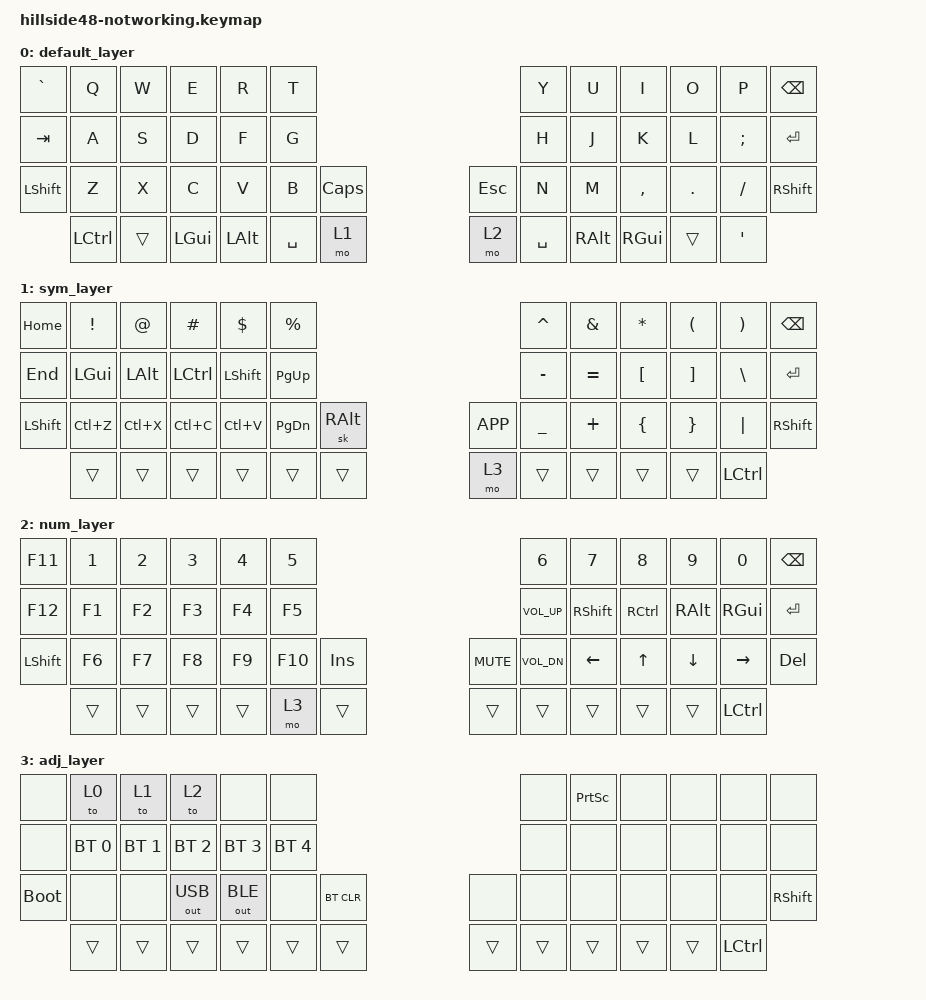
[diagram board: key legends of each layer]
/*
 * Copyright (c) 2022 The ZMK Contributors
 *
 * SPDX-License-Identifier: MIT
 */

#include <behaviors.dtsi>
#include <dt-bindings/zmk/bt.h>
#include <dt-bindings/zmk/keys.h>
#include <dt-bindings/zmk/outputs.h>

#define QWERTY_L 0
#define SYM_L    1
#define NUM_L    2
#define ADJ_L    3
#define Undo   LC(Z)
#define Cut    LC(X)
#define Copy   LC(C)
#define Paste  LC(V)

/ {
    combos {
        compatible = "zmk,combos";

        Layer3 {
            bindings = <&mo 3>;
            key-positions = <38 40>;
        };
    };

    keymap {
        compatible = "zmk,keymap";

        default_layer {
            /* QWERTY
 * -------------------------------------------------------------------------------------------------------------------------------------
 * | `     |   Q   |   W   |   E   |   R   |   T   |-----------------------------------|   Y   |   U   |   I   |   O   |   P   | BKSPC |
 * | TAB   |   A   |   S   |   D   |   F   |   G   |-----------------------------------|   H   |   J   |   K   |   L   |   ;   | ENTER |
 * | SHIFT |   Z   |   X   |   C   |   V   |   B   | CAPS  |-------------------|  ESC  |   N   |   M   |   ,   |   .   |   /   | SHIFT |
 * ----------------| CTRL  |-------|  GUI  |  ALT  | SPACE |  Sym  |---|  Num  | SPACE |  ALT  |  GUI  |-------|   '   |----------------
 */

            bindings = <
&kp GRAVE  &kp Q      &kp W      &kp E       &kp R       &kp T                                                &kp Y       &kp U       &kp I       &kp O       &kp P       &kp BSPC
&kp TAB    &kp A      &kp S      &kp D       &kp F       &kp G                                                &kp H       &kp J       &kp K       &kp L       &kp SEMI    &kp RET
&kp LSHFT  &kp Z      &kp X      &kp C       &kp V       &kp B       &kp CAPS                        &kp ESC  &kp N       &kp M       &kp COMMA   &kp DOT     &kp FSLH    &kp RSHFT
           &kp LCTRL  &trans     &kp LGUI    &kp LALT    &kp SPACE   &mo 1                           &mo 2    &kp SPACE   &kp RALT    &kp RGUI    &trans      &kp APOS
            >;
        };

        sym_layer {
            /* SYM
 * -------------------------------------------------------------------------------------------------------------------------------------
 * | HOME  |   !   |   @   |   #   |   $   |   %   |-----------------------------------|   ^   |   &   |   *   |   (   |   )   | BSPC  |
 * | END   |  GUI  |  Alt  | Ctrl  | Shift | Pg Up |-----------------------------------|   -   |   =   |   [   |   ]   |   \   | ENTER |
 * | Shift |  UnDo |  Cut  | Copy  | Paste | Pg Dn |OsAltGr|-------------------| MENU  |   _   |   +   |   {   |   }   |   |   | SHIFT |
 * ----------------|       |-------|       |       |       |       |---| ADJ_L |       |       |       |-------| CTRL  |----------------
 */

            bindings = <
&kp HOME   &kp EXCL   &kp AT     &kp HASH    &kp DLLR    &kp PRCNT                                            &kp CARET   &kp AMPS    &kp STAR    &kp LPAR    &kp RPAR    &kp BSPC
&kp END    &kp LGUI   &kp LALT   &kp LCTRL   &kp LSHFT   &kp PG_UP                                            &kp MINUS   &kp EQUAL   &kp LBKT    &kp RBKT    &kp BSLH    &kp RET
&kp LSHFT  &kp Undo   &kp Cut    &kp Copy    &kp Paste   &kp PG_DN   &sk RALT                        &kp K_APP  &kp UNDER   &kp PLUS    &kp LBRC    &kp RBRC    &kp PIPE    &kp RSHFT
           &trans     &trans     &trans      &trans      &trans      &trans                          &mo 3      &trans      &trans      &trans      &trans      &kp LCTRL
            >;
        };

        num_layer {
            /* NUM   
 * -------------------------------------------------------------------------------------------------------------------------------------
 * | F11   |   1   |   2   |   3   |   4   |   5   |-----------------------------------|   6   |   7   |   8   |   9   |   0   | BSPC  |
 * | F12   |  F1   |  F2   |  F3   |  F4   |  F5   |-----------------------------------|VOL UP | Shift | Ctrl  | Alt   | Gui   | ENTER |
 * | Shift |  F6   |  F7   |  F8   |  F9   |  F10  |  INS  |-------------------| MUTE  |VOL DN | Left  |  Up   | Down  | Right | DELETE|
 * ----------------|       |-------|       |       |       | ADJ_L |---|       |       |       |       |-------| CTRL  |----------------
 */

            bindings = <
&kp F11    &kp N1     &kp N2     &kp N3      &kp N4      &kp N5                                               &kp N6      &kp N7      &kp N8      &kp N9      &kp N0      &kp BSPC
&kp F12    &kp F1     &kp F2     &kp F3      &kp F4      &kp F5                                               &kp C_VOL_UP &kp RSHFT   &kp RCTRL   &kp RALT    &kp RGUI    &kp RET
&kp LSHFT  &kp F6     &kp F7     &kp F8      &kp F9      &kp F10     &kp INS                         &kp C_MUTE &kp C_VOL_DN &kp LEFT    &kp UP      &kp DOWN    &kp RIGHT   &kp DEL
           &trans     &trans     &trans      &trans      &mo 3       &trans                          &trans     &trans      &trans      &trans      &trans      &kp LCTRL
            >;
        };

        adj_layer {
            /* ADJUST
 * -------------------------------------------------------------------------------------------------------------------------------------
 * |       | QWERTY| DVORAK| COLEMK|       |       |-----------------------------------|       |Prt Scr|       | EP_OFF| EP_ON |       |
 * |       | BT 0  | BT 1  | BT 2  | BT 3  | BT 4  |-----------------------------------|       |       |       |       |       |       |
 * | BOOTL |       |       |OUT_USB|OUT_BLE|       |BT CLR |-------------------|       |       |       |       |       |       | SHIFT |
 * ----------------|       |-------|       |       |       |       |---|       |       |       |       |-------| CTRL  |----------------
 */

            bindings = <
&none          &to 0          &to 1          &to 2          &none          &none                                            &none          &kp PSCRN       &none          &none          &none          &none
&none          &bt BT_SEL 0    &bt BT_SEL 1   &bt BT_SEL 2    &bt BT_SEL 3    &bt BT_SEL 4                                   &none          &none          &none          &none          &none          &none
&bootloader    &none          &none          &out OUT_USB    &out OUT_BLE    &none           &bt BT_CLR                  &none          &none          &none          &none          &none          &none          &kp RSHFT
               &trans         &trans         &trans          &trans          &trans          &trans                      &trans         &trans         &trans         &trans         &trans         &kp LCTRL
            >;
        };
    };
};
